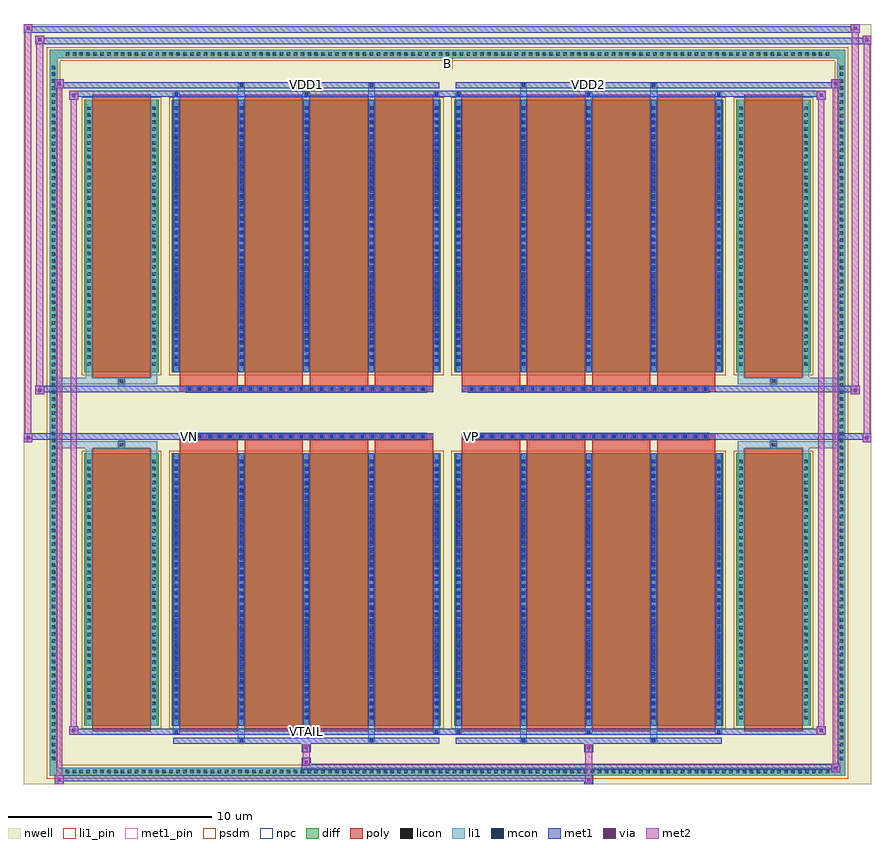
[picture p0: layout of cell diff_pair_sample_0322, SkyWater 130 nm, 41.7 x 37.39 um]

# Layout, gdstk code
import gdstk
lib = gdstk.Library(unit=1e-6, precision=5e-09)
def R(c, l, rs):  # rectangles x0, y0, x1, y1
    for r in rs: c.add(gdstk.rectangle(r[:2], r[2:], *l))
def A(c, l, x, y, w, h, nx, ny, dx, dy):  # array of equal rectangles
    R(c, l, [(x+i*dx, y+j*dy, x+i*dx+w, y+j*dy+h) for i in range(nx) for j in range(ny)])
def P(c, l, *ps):  # polygons
    for p in ps: c.add(gdstk.Polygon(p, *l))
nwell = (64, 20)
diff = (65, 20)
poly = (66, 20)
licon = (66, 44)
li1_pin = (67, 16)
li1 = (67, 20)
mcon = (67, 44)
met1_pin = (68, 16)
met1 = (68, 20)
via = (68, 44)
met2 = (69, 20)
psdm = (94, 20)
npc = (95, 20)

diff_pair_sample_0322 = lib.new_cell('diff_pair_sample_0322')
R(diff_pair_sample_0322, nwell, [(-20.85,-18.26,20.85,19.13), (-18.17,-16.45,-0.01,-0.805), (0.01,-16.45,18.17,-0.805), (-18.17,0.805,-0.01,16.45), (0.01,0.805,18.17,16.45)])
A(diff_pair_sample_0322, diff, -18.905, -17.86, 0.41, 0.41, 111, 2, 0.34, 35.31)
A(diff_pair_sample_0322, diff, -19.58, -17.205, 0.41, 0.41, 1, 101, 0, 0.34)
A(diff_pair_sample_0322, diff, 19.17, -17.205, 0.41, 0.41, 1, 101, 0, 0.34)
R(diff_pair_sample_0322, diff, [(-18.905,-17.86,18.905,-17.45), (-19.58,-17.205,-19.17,17.205), (19.17,-17.205,19.58,17.205), (-17.86,-15.405,-14.21,-1.985), (-13.57,-15.405,-0.32,-1.985), (0.32,-15.405,13.57,-1.985), (14.21,-15.405,17.86,-1.985), (-17.86,1.985,-14.21,15.405), (-13.57,1.985,-0.32,15.405), (0.32,1.985,13.57,15.405), (14.21,1.985,17.86,15.405), (-18.905,17.45,18.905,17.86)])
P(diff_pair_sample_0322, diff, [(19.58,17.86),(-19.58,17.86),(-19.58,-17.45),(-19.17,-17.45),(-19.17,17.45),(19.17,17.45),(19.17,-17.45),(-19.17,-17.45),(-19.58,-17.45),(-19.58,-17.86),(19.58,-17.86)])
A(diff_pair_sample_0322, poly, -13.18, -15.655, 2.87, 13.92, 4, 2, 3.2, 17.39)
A(diff_pair_sample_0322, poly, 0.71, -15.655, 2.87, 13.92, 4, 2, 3.2, 17.39)
A(diff_pair_sample_0322, poly, -13.18, -1.735, 2.87, 0.4, 4, 2, 3.2, 3.07)
A(diff_pair_sample_0322, poly, 0.71, -1.735, 2.87, 0.4, 4, 2, 3.2, 3.07)
A(diff_pair_sample_0322, poly, -12.86, -1.335, 0.33, 0.33, 24, 2, 0.5, 2.34)
A(diff_pair_sample_0322, poly, 1.03, -1.335, 0.33, 0.33, 24, 2, 0.5, 2.34)
R(diff_pair_sample_0322, poly, [(-17.47,-15.655,-14.6,-1.735), (14.6,-15.655,17.47,-1.735), (-16.2,-1.735,-15.87,-1.405), (-16.2,-1.735,-15.87,-1.405), (15.87,-1.735,16.2,-1.405), (15.87,-1.735,16.2,-1.405), (-13.18,-1.335,-0.71,-1.005), (0.71,-1.335,13.18,-1.005), (-13.18,1.005,-0.71,1.335), (0.71,1.005,13.18,1.335), (-16.2,1.405,-15.87,1.735), (-16.2,1.405,-15.87,1.735), (15.87,1.405,16.2,1.735), (15.87,1.405,16.2,1.735), (-17.47,1.735,-14.6,15.655), (14.6,1.735,17.47,15.655)])
A(diff_pair_sample_0322, licon, -18.785, -17.74, 0.17, 0.17, 111, 2, 0.34, 35.31)
A(diff_pair_sample_0322, licon, -19.46, -17.085, 0.17, 0.17, 1, 101, 0, 0.34)
A(diff_pair_sample_0322, licon, 19.29, -17.085, 0.17, 0.17, 1, 101, 0, 0.34)
A(diff_pair_sample_0322, licon, -17.72, -15.07, 0.17, 0.17, 1, 38, 0, 0.34)
A(diff_pair_sample_0322, licon, -14.52, -15.07, 0.17, 0.17, 1, 38, 0, 0.34)
A(diff_pair_sample_0322, licon, -13.43, -15.07, 0.17, 0.17, 5, 38, 3.2, 0.34)
A(diff_pair_sample_0322, licon, 0.46, -15.07, 0.17, 0.17, 5, 38, 3.2, 0.34)
A(diff_pair_sample_0322, licon, 14.35, -15.07, 0.17, 0.17, 1, 38, 0, 0.34)
A(diff_pair_sample_0322, licon, 17.55, -15.07, 0.17, 0.17, 1, 38, 0, 0.34)
A(diff_pair_sample_0322, licon, -12.78, -1.255, 0.17, 0.17, 24, 2, 0.5, 2.34)
A(diff_pair_sample_0322, licon, 1.11, -1.255, 0.17, 0.17, 24, 2, 0.5, 2.34)
A(diff_pair_sample_0322, licon, -17.72, 2.32, 0.17, 0.17, 1, 38, 0, 0.34)
A(diff_pair_sample_0322, licon, -14.52, 2.32, 0.17, 0.17, 1, 38, 0, 0.34)
A(diff_pair_sample_0322, licon, -13.43, 2.32, 0.17, 0.17, 5, 38, 3.2, 0.34)
A(diff_pair_sample_0322, licon, 0.46, 2.32, 0.17, 0.17, 5, 38, 3.2, 0.34)
A(diff_pair_sample_0322, licon, 14.35, 2.32, 0.17, 0.17, 1, 38, 0, 0.34)
A(diff_pair_sample_0322, licon, 17.55, 2.32, 0.17, 0.17, 1, 38, 0, 0.34)
R(diff_pair_sample_0322, licon, [(-16.12,-1.655,-15.95,-1.485), (15.95,-1.655,16.12,-1.485), (-16.12,1.485,-15.95,1.655), (15.95,1.485,16.12,1.655)])
R(diff_pair_sample_0322, li1_pin, [(-0.25,16.95,0.25,17.45)])
A(diff_pair_sample_0322, li1, -18.865, -17.82, 0.33, 0.33, 111, 2, 0.34, 35.31)
A(diff_pair_sample_0322, li1, -19.54, -17.165, 0.33, 0.33, 1, 101, 0, 0.34)
A(diff_pair_sample_0322, li1, 19.21, -17.165, 0.33, 0.33, 1, 101, 0, 0.34)
A(diff_pair_sample_0322, li1, -13.51, -15.78, 0.33, 0.375, 3, 2, 6.4, 31.185)
A(diff_pair_sample_0322, li1, -13.43, -15.78, 0.17, 0.17, 3, 2, 6.4, 31.39)
A(diff_pair_sample_0322, li1, 0.38, -15.78, 0.33, 0.375, 3, 2, 6.4, 31.185)
A(diff_pair_sample_0322, li1, 0.46, -15.78, 0.17, 0.17, 3, 2, 6.4, 31.39)
A(diff_pair_sample_0322, li1, -13.51, -15.405, 0.33, 13.42, 5, 2, 3.2, 17.39)
A(diff_pair_sample_0322, li1, 0.38, -15.405, 0.33, 13.42, 5, 2, 3.2, 17.39)
A(diff_pair_sample_0322, li1, -17.8, -15.15, 0.33, 0.33, 1, 38, 0, 0.34)
A(diff_pair_sample_0322, li1, -14.6, -15.15, 0.33, 0.33, 1, 38, 0, 0.34)
A(diff_pair_sample_0322, li1, -13.51, -15.15, 0.33, 0.33, 5, 38, 3.2, 0.34)
A(diff_pair_sample_0322, li1, 0.38, -15.15, 0.33, 0.33, 5, 38, 3.2, 0.34)
A(diff_pair_sample_0322, li1, 14.27, -15.15, 0.33, 0.33, 1, 38, 0, 0.34)
A(diff_pair_sample_0322, li1, 17.47, -15.15, 0.33, 0.33, 1, 38, 0, 0.34)
A(diff_pair_sample_0322, li1, -13.43, -15.08, 0.17, 0.17, 5, 36, 3.2, 0.36)
A(diff_pair_sample_0322, li1, -13.43, -15.08, 0.17, 12.77, 5, 2, 3.2, 17.39)
A(diff_pair_sample_0322, li1, 0.46, -15.08, 0.17, 0.17, 5, 36, 3.2, 0.36)
A(diff_pair_sample_0322, li1, 0.46, -15.08, 0.17, 12.77, 5, 2, 3.2, 17.39)
A(diff_pair_sample_0322, li1, -12.86, -1.335, 0.33, 0.33, 24, 2, 0.5, 2.34)
A(diff_pair_sample_0322, li1, 1.03, -1.335, 0.33, 0.33, 24, 2, 0.5, 2.34)
A(diff_pair_sample_0322, li1, -17.8, 2.24, 0.33, 0.33, 1, 38, 0, 0.34)
A(diff_pair_sample_0322, li1, -14.6, 2.24, 0.33, 0.33, 1, 38, 0, 0.34)
A(diff_pair_sample_0322, li1, -13.51, 2.24, 0.33, 0.33, 5, 38, 3.2, 0.34)
A(diff_pair_sample_0322, li1, 0.38, 2.24, 0.33, 0.33, 5, 38, 3.2, 0.34)
A(diff_pair_sample_0322, li1, 14.27, 2.24, 0.33, 0.33, 1, 38, 0, 0.34)
A(diff_pair_sample_0322, li1, 17.47, 2.24, 0.33, 0.33, 1, 38, 0, 0.34)
A(diff_pair_sample_0322, li1, -13.43, 2.31, 0.17, 0.17, 5, 36, 3.2, 0.36)
A(diff_pair_sample_0322, li1, 0.46, 2.31, 0.17, 0.17, 5, 36, 3.2, 0.36)
R(diff_pair_sample_0322, li1, [(-19.58,-17.86,-19.17,-17.45), (-19.58,-17.86,-19.17,-17.45), (-19.17,-17.86,19.17,-17.45), (19.17,-17.86,19.58,-17.45), (19.17,-17.86,19.58,-17.45), (-19.58,-17.45,-19.17,17.45), (19.17,-17.45,19.58,17.45), (-10.31,-16.21,-9.98,-15.405), (-10.23,-16.21,-10.06,-16.04), (-3.91,-16.21,-3.58,-15.405), (-3.83,-16.21,-3.66,-16.04), (3.58,-16.21,3.91,-15.405), (3.66,-16.21,3.83,-16.04), (9.98,-16.21,10.31,-15.405), (10.06,-16.21,10.23,-16.04), (-17.8,-15.405,-17.47,-1.985), (-14.6,-15.405,-14.27,-1.985), (14.27,-15.405,14.6,-1.985), (17.47,-15.405,17.8,-1.985), (-17.8,-1.985,-17.47,-1.405), (-14.6,-1.985,-14.27,-1.405), (14.27,-1.985,14.6,-1.405), (17.47,-1.985,17.8,-1.405), (-19.58,-1.735,-16.2,-1.405), (-17.8,-1.735,-16.2,-1.405), (-16.2,-1.735,-15.87,-1.405), (-15.87,-1.735,-14.27,-1.405), (14.27,-1.735,15.87,-1.405), (15.87,-1.735,16.2,-1.405), (15.87,-1.735,19.58,-1.405), (16.2,-1.735,17.8,-1.405), (-19.58,1.405,-16.2,1.735), (-17.8,1.405,-16.2,1.735), (-17.8,1.405,-17.47,1.985), (-16.2,1.405,-15.87,1.735), (-15.87,1.405,-14.27,1.735), (-14.6,1.405,-14.27,1.985), (14.27,1.405,15.87,1.735), (14.27,1.405,14.6,1.985), (15.87,1.405,16.2,1.735), (15.87,1.405,19.58,1.735), (16.2,1.405,17.8,1.735), (17.47,1.405,17.8,1.985), (-17.8,1.985,-17.47,15.405), (-14.6,1.985,-14.27,15.405), (14.27,1.985,14.6,15.405), (17.47,1.985,17.8,15.405), (-10.31,15.405,-9.98,16.21), (-3.91,15.405,-3.58,16.21), (3.58,15.405,3.91,16.21), (9.98,15.405,10.31,16.21), (-10.23,16.04,-10.06,16.21), (-3.83,16.04,-3.66,16.21), (3.66,16.04,3.83,16.21), (10.06,16.04,10.23,16.21), (-19.58,17.45,-19.17,17.86), (-19.58,17.45,-19.17,17.86), (-19.17,17.45,19.17,17.86), (19.17,17.45,19.58,17.86), (19.17,17.45,19.58,17.86)])
A(diff_pair_sample_0322, mcon, -13.43, -15.78, 0.17, 0.17, 3, 2, 6.4, 31.39)
A(diff_pair_sample_0322, mcon, 0.46, -15.78, 0.17, 0.17, 3, 2, 6.4, 31.39)
A(diff_pair_sample_0322, mcon, -13.43, -15.08, 0.17, 0.17, 5, 36, 3.2, 0.36)
A(diff_pair_sample_0322, mcon, 0.46, -15.08, 0.17, 0.17, 5, 36, 3.2, 0.36)
A(diff_pair_sample_0322, mcon, -12.78, -1.255, 0.17, 0.17, 24, 2, 0.5, 2.34)
A(diff_pair_sample_0322, mcon, 1.11, -1.255, 0.17, 0.17, 24, 2, 0.5, 2.34)
A(diff_pair_sample_0322, mcon, -13.43, 2.31, 0.17, 0.17, 5, 36, 3.2, 0.36)
A(diff_pair_sample_0322, mcon, 0.46, 2.31, 0.17, 0.17, 5, 36, 3.2, 0.36)
R(diff_pair_sample_0322, mcon, [(-10.23,-16.21,-10.06,-16.04), (-3.83,-16.21,-3.66,-16.04), (3.66,-16.21,3.83,-16.04), (10.06,-16.21,10.23,-16.04), (-10.23,16.04,-10.06,16.21), (-3.83,16.04,-3.66,16.21), (3.66,16.04,3.83,16.21), (10.06,16.04,10.23,16.21)])
R(diff_pair_sample_0322, met1_pin, [(-7.08,-15.82,-6.81,-15.55), (-12.83,-1.295,-12.56,-1.025), (1.06,-1.295,1.33,-1.025), (-7.08,16,-6.81,16.27), (6.81,16,7.08,16.27)])
A(diff_pair_sample_0322, met1, -13.49, -15.84, 0.29, 0.29, 3, 2, 6.4, 31.39)
A(diff_pair_sample_0322, met1, 0.4, -15.84, 0.29, 0.29, 3, 2, 6.4, 31.39)
A(diff_pair_sample_0322, met1, -13.49, -15.405, 0.29, 13.42, 5, 2, 3.2, 17.39)
A(diff_pair_sample_0322, met1, 0.4, -15.405, 0.29, 13.42, 5, 2, 3.2, 17.39)
A(diff_pair_sample_0322, met1, -13.49, -15.14, 0.29, 0.29, 5, 36, 3.2, 0.36)
A(diff_pair_sample_0322, met1, 0.4, -15.14, 0.29, 0.29, 5, 36, 3.2, 0.36)
A(diff_pair_sample_0322, met1, -12.84, -1.315, 0.29, 0.29, 24, 2, 0.5, 2.34)
A(diff_pair_sample_0322, met1, 1.05, -1.315, 0.29, 0.29, 24, 2, 0.5, 2.34)
A(diff_pair_sample_0322, met1, -13.49, 2.25, 0.29, 0.29, 5, 36, 3.2, 0.36)
A(diff_pair_sample_0322, met1, 0.4, 2.25, 0.29, 0.29, 5, 36, 3.2, 0.36)
R(diff_pair_sample_0322, met1, [(-19.31,-18.26,-18.88,-17.83), (6.73,-18.26,7.16,-17.83), (-19.31,-18.12,7.16,-17.83), (18.88,-17.69,19.31,-17.26), (-7.16,-17.55,19.31,-17.26), (-7.16,-17.41,-6.73,-16.98), (-7.16,-16.7,-6.73,-16.27), (6.73,-16.7,7.16,-16.27), (-13.49,-16.27,-0.4,-15.98), (-10.29,-16.27,-10,-15.98), (-3.89,-16.27,-3.6,-15.98), (0.4,-16.27,13.49,-15.98), (3.6,-16.27,3.89,-15.98), (10,-16.27,10.29,-15.98), (-18.6,-15.84,-18.17,-15.41), (-18.6,-15.84,-13.49,-15.55), (-13.49,-15.84,-0.4,-15.55), (-0.4,-15.84,0.4,-15.55), (0.4,-15.84,13.49,-15.55), (13.49,-15.84,18.6,-15.55), (18.17,-15.84,18.6,-15.41), (-20.85,-1.435,-20.42,-1.005), (20.42,-1.435,20.85,-1.005), (-20.85,-1.335,-0.71,-1.005), (-13.18,-1.335,-0.71,-1.005), (0.71,-1.335,13.18,-1.005), (0.71,-1.335,20.85,-1.005), (-20.28,0.905,-19.85,1.335), (19.85,0.905,20.28,1.335), (-20.28,1.005,-13.18,1.335), (-13.18,1.005,-0.71,1.335), (0.71,1.005,13.18,1.335), (13.18,1.005,20.28,1.335), (-18.6,15.41,-18.17,15.84), (18.17,15.41,18.6,15.84), (-18.6,15.55,-13.49,15.84), (-13.49,15.55,-0.4,15.84), (-0.4,15.55,0.4,15.84), (0.4,15.55,13.49,15.84), (13.49,15.55,18.6,15.84), (-19.31,15.98,-18.88,16.41), (-19.31,15.98,-13.49,16.27), (-13.49,15.98,-0.4,16.27), (-10.29,15.98,-10,16.27), (-3.89,15.98,-3.6,16.27), (0.4,15.98,13.49,16.27), (3.6,15.98,3.89,16.27), (10,15.98,10.29,16.27), (13.49,15.98,19.31,16.27), (18.88,15.98,19.31,16.41), (-20.28,18.13,-19.85,18.56), (-20.28,18.13,-18.17,18.46), (-18.17,18.13,18.17,18.46), (18.17,18.13,20.85,18.46), (20.42,18.13,20.85,18.56), (-20.85,18.7,-20.42,19.13), (-20.85,18.7,-18.17,19.03), (-18.17,18.7,18.17,19.03), (18.17,18.7,20.28,19.03), (19.85,18.7,20.28,19.13)])
R(diff_pair_sample_0322, via, [(-19.17,-18.12,-19.02,-17.97), (6.87,-18.12,7.02,-17.97), (19.02,-17.55,19.17,-17.4), (-7.02,-17.27,-6.87,-17.12), (-7.02,-16.56,-6.87,-16.41), (6.87,-16.56,7.02,-16.41), (-18.46,-15.7,-18.31,-15.55), (18.31,-15.7,18.46,-15.55), (-20.71,-1.295,-20.56,-1.145), (20.56,-1.295,20.71,-1.145), (-20.14,1.045,-19.99,1.195), (19.99,1.045,20.14,1.195), (-18.46,15.55,-18.31,15.7), (18.31,15.55,18.46,15.7), (-19.17,16.12,-19.02,16.27), (19.02,16.12,19.17,16.27), (-20.14,18.27,-19.99,18.42), (20.56,18.27,20.71,18.42), (-20.71,18.84,-20.56,18.99), (19.99,18.84,20.14,18.99)])
R(diff_pair_sample_0322, met2, [(-19.31,-18.26,-18.88,-17.83), (-19.24,-18.26,-18.95,16.41), (-18.95,-18.26,-18.88,-17.83), (-19.26,-18.21,-18.93,-17.88), (6.78,-18.21,7.11,-17.88), (6.78,-17.88,7.11,-16.65), (18.88,-17.69,19.31,-17.26), (18.95,-17.69,19.24,16.41), (19.24,-17.69,19.31,-17.26), (18.93,-17.64,19.26,-17.31), (-7.11,-17.36,-6.78,-17.03), (-7.11,-17.03,-6.78,-16.65), (-7.11,-16.65,-6.78,-16.32), (6.78,-16.65,7.11,-16.32), (-18.6,-15.84,-18.17,-15.41), (-18.53,-15.84,-18.24,15.84), (-18.24,-15.84,-18.17,-15.41), (18.17,-15.84,18.6,-15.41), (18.24,-15.84,18.53,15.84), (18.53,-15.84,18.6,-15.41), (-18.55,-15.79,-18.22,-15.46), (18.22,-15.79,18.55,-15.46), (-20.85,-1.435,-20.42,-1.005), (-20.8,-1.435,-20.47,19.13), (-20.47,-1.435,-20.42,-1.005), (20.42,-1.435,20.85,-1.005), (20.47,-1.435,20.8,18.56), (20.8,-1.435,20.85,-1.005), (-20.8,-1.385,-20.47,-1.055), (20.47,-1.385,20.8,-1.055), (-20.28,0.905,-19.85,1.335), (-20.23,0.905,-19.9,18.56), (-19.9,0.905,-19.85,1.335), (19.85,0.905,20.28,1.335), (19.9,0.905,20.23,19.13), (20.23,0.905,20.28,1.335), (-20.23,0.955,-19.9,1.285), (19.9,0.955,20.23,1.285), (-18.6,15.41,-18.17,15.84), (-18.24,15.41,-18.17,15.84), (18.17,15.41,18.6,15.84), (18.53,15.41,18.6,15.84), (-18.55,15.46,-18.22,15.79), (18.22,15.46,18.55,15.79), (-19.31,15.98,-18.88,16.41), (-18.95,15.98,-18.88,16.41), (18.88,15.98,19.31,16.41), (19.24,15.98,19.31,16.41), (-19.26,16.03,-18.93,16.36), (18.93,16.03,19.26,16.36), (-20.28,18.13,-19.85,18.56), (-19.9,18.13,-19.85,18.56), (20.42,18.13,20.85,18.56), (20.8,18.13,20.85,18.56), (-20.23,18.18,-19.9,18.51), (20.47,18.18,20.8,18.51), (-20.85,18.7,-20.42,19.13), (-20.47,18.7,-20.42,19.13), (19.85,18.7,20.28,19.13), (20.23,18.7,20.28,19.13), (-20.8,18.75,-20.47,19.08), (19.9,18.75,20.23,19.08)])
R(diff_pair_sample_0322, psdm, [(-17.99,-15.535,-14.08,-1.855), (-13.7,-15.535,-0.19,-1.855), (0.19,-15.535,13.7,-1.855), (14.08,-15.535,17.99,-1.855), (-17.99,1.855,-14.08,15.535), (-13.7,1.855,-0.19,15.535), (0.19,1.855,13.7,15.535), (14.08,1.855,17.99,15.535)])
P(diff_pair_sample_0322, psdm, [(19.71,17.99),(-19.71,17.99),(-19.71,-17.32),(-19.04,-17.32),(-19.04,17.32),(19.04,17.32),(19.04,-17.32),(-19.04,-17.32),(-19.71,-17.32),(-19.71,-17.99),(19.71,-17.99)])
A(diff_pair_sample_0322, npc, -12.88, -1.355, 0.37, 0.37, 24, 2, 0.5, 2.34)
A(diff_pair_sample_0322, npc, 1.01, -1.355, 0.37, 0.37, 24, 2, 0.5, 2.34)
R(diff_pair_sample_0322, npc, [(-16.22,-1.755,-15.85,-1.385), (15.85,-1.755,16.22,-1.385), (-12.88,-1.355,-12.01,-0.985), (-12.88,-1.355,-12.01,-0.985), (-12.38,-1.355,-11.51,-0.985), (-12.38,-1.355,-11.51,-0.985), (-11.88,-1.355,-11.01,-0.985), (-11.88,-1.355,-11.01,-0.985), (-11.38,-1.355,-10.51,-0.985), (-11.38,-1.355,-10.51,-0.985), (-10.88,-1.355,-10.01,-0.985), (-10.88,-1.355,-10.01,-0.985), (-10.38,-1.355,-9.51,-0.985), (-10.38,-1.355,-9.51,-0.985), (-9.88,-1.355,-9.01,-0.985), (-9.88,-1.355,-9.01,-0.985), (-9.38,-1.355,-8.51,-0.985), (-9.38,-1.355,-8.51,-0.985), (-8.88,-1.355,-8.01,-0.985), (-8.88,-1.355,-8.01,-0.985), (-8.38,-1.355,-7.51,-0.985), (-8.38,-1.355,-7.51,-0.985), (-7.88,-1.355,-7.01,-0.985), (-7.88,-1.355,-7.01,-0.985), (-7.38,-1.355,-6.51,-0.985), (-7.38,-1.355,-6.51,-0.985), (-6.88,-1.355,-6.01,-0.985), (-6.88,-1.355,-6.01,-0.985), (-6.38,-1.355,-5.51,-0.985), (-6.38,-1.355,-5.51,-0.985), (-5.88,-1.355,-5.01,-0.985), (-5.88,-1.355,-5.01,-0.985), (-5.38,-1.355,-4.51,-0.985), (-5.38,-1.355,-4.51,-0.985), (-4.88,-1.355,-4.01,-0.985), (-4.88,-1.355,-4.01,-0.985), (-4.38,-1.355,-3.51,-0.985), (-4.38,-1.355,-3.51,-0.985), (-3.88,-1.355,-3.01,-0.985), (-3.88,-1.355,-3.01,-0.985), (-3.38,-1.355,-2.51,-0.985), (-3.38,-1.355,-2.51,-0.985), (-2.88,-1.355,-2.01,-0.985), (-2.88,-1.355,-2.01,-0.985), (-2.38,-1.355,-1.51,-0.985), (-2.38,-1.355,-1.51,-0.985), (-1.88,-1.355,-1.01,-0.985), (-1.88,-1.355,-1.01,-0.985), (1.01,-1.355,1.88,-0.985), (1.01,-1.355,1.88,-0.985), (1.51,-1.355,2.38,-0.985), (1.51,-1.355,2.38,-0.985), (2.01,-1.355,2.88,-0.985), (2.01,-1.355,2.88,-0.985), (2.51,-1.355,3.38,-0.985), (2.51,-1.355,3.38,-0.985), (3.01,-1.355,3.88,-0.985), (3.01,-1.355,3.88,-0.985), (3.51,-1.355,4.38,-0.985), (3.51,-1.355,4.38,-0.985), (4.01,-1.355,4.88,-0.985), (4.01,-1.355,4.88,-0.985), (4.51,-1.355,5.38,-0.985), (4.51,-1.355,5.38,-0.985), (5.01,-1.355,5.88,-0.985), (5.01,-1.355,5.88,-0.985), (5.51,-1.355,6.38,-0.985), (5.51,-1.355,6.38,-0.985), (6.01,-1.355,6.88,-0.985), (6.01,-1.355,6.88,-0.985), (6.51,-1.355,7.38,-0.985), (6.51,-1.355,7.38,-0.985), (7.01,-1.355,7.88,-0.985), (7.01,-1.355,7.88,-0.985), (7.51,-1.355,8.38,-0.985), (7.51,-1.355,8.38,-0.985), (8.01,-1.355,8.88,-0.985), (8.01,-1.355,8.88,-0.985), (8.51,-1.355,9.38,-0.985), (8.51,-1.355,9.38,-0.985), (9.01,-1.355,9.88,-0.985), (9.01,-1.355,9.88,-0.985), (9.51,-1.355,10.38,-0.985), (9.51,-1.355,10.38,-0.985), (10.01,-1.355,10.88,-0.985), (10.01,-1.355,10.88,-0.985), (10.51,-1.355,11.38,-0.985), (10.51,-1.355,11.38,-0.985), (11.01,-1.355,11.88,-0.985), (11.01,-1.355,11.88,-0.985), (11.51,-1.355,12.38,-0.985), (11.51,-1.355,12.38,-0.985), (12.01,-1.355,12.88,-0.985), (12.01,-1.355,12.88,-0.985), (-12.88,0.985,-12.01,1.355), (-12.88,0.985,-12.01,1.355), (-12.38,0.985,-11.51,1.355), (-12.38,0.985,-11.51,1.355), (-11.88,0.985,-11.01,1.355), (-11.88,0.985,-11.01,1.355), (-11.38,0.985,-10.51,1.355), (-11.38,0.985,-10.51,1.355), (-10.88,0.985,-10.01,1.355), (-10.88,0.985,-10.01,1.355), (-10.38,0.985,-9.51,1.355), (-10.38,0.985,-9.51,1.355), (-9.88,0.985,-9.01,1.355), (-9.88,0.985,-9.01,1.355), (-9.38,0.985,-8.51,1.355), (-9.38,0.985,-8.51,1.355), (-8.88,0.985,-8.01,1.355), (-8.88,0.985,-8.01,1.355), (-8.38,0.985,-7.51,1.355), (-8.38,0.985,-7.51,1.355), (-7.88,0.985,-7.01,1.355), (-7.88,0.985,-7.01,1.355), (-7.38,0.985,-6.51,1.355), (-7.38,0.985,-6.51,1.355), (-6.88,0.985,-6.01,1.355), (-6.88,0.985,-6.01,1.355), (-6.38,0.985,-5.51,1.355), (-6.38,0.985,-5.51,1.355), (-5.88,0.985,-5.01,1.355), (-5.88,0.985,-5.01,1.355), (-5.38,0.985,-4.51,1.355), (-5.38,0.985,-4.51,1.355), (-4.88,0.985,-4.01,1.355), (-4.88,0.985,-4.01,1.355), (-4.38,0.985,-3.51,1.355), (-4.38,0.985,-3.51,1.355), (-3.88,0.985,-3.01,1.355), (-3.88,0.985,-3.01,1.355), (-3.38,0.985,-2.51,1.355), (-3.38,0.985,-2.51,1.355), (-2.88,0.985,-2.01,1.355), (-2.88,0.985,-2.01,1.355), (-2.38,0.985,-1.51,1.355), (-2.38,0.985,-1.51,1.355), (-1.88,0.985,-1.01,1.355), (-1.88,0.985,-1.01,1.355), (1.01,0.985,1.88,1.355), (1.01,0.985,1.88,1.355), (1.51,0.985,2.38,1.355), (1.51,0.985,2.38,1.355), (2.01,0.985,2.88,1.355), (2.01,0.985,2.88,1.355), (2.51,0.985,3.38,1.355), (2.51,0.985,3.38,1.355), (3.01,0.985,3.88,1.355), (3.01,0.985,3.88,1.355), (3.51,0.985,4.38,1.355), (3.51,0.985,4.38,1.355), (4.01,0.985,4.88,1.355), (4.01,0.985,4.88,1.355), (4.51,0.985,5.38,1.355), (4.51,0.985,5.38,1.355), (5.01,0.985,5.88,1.355), (5.01,0.985,5.88,1.355), (5.51,0.985,6.38,1.355), (5.51,0.985,6.38,1.355), (6.01,0.985,6.88,1.355), (6.01,0.985,6.88,1.355), (6.51,0.985,7.38,1.355), (6.51,0.985,7.38,1.355), (7.01,0.985,7.88,1.355), (7.01,0.985,7.88,1.355), (7.51,0.985,8.38,1.355), (7.51,0.985,8.38,1.355), (8.01,0.985,8.88,1.355), (8.01,0.985,8.88,1.355), (8.51,0.985,9.38,1.355), (8.51,0.985,9.38,1.355), (9.01,0.985,9.88,1.355), (9.01,0.985,9.88,1.355), (9.51,0.985,10.38,1.355), (9.51,0.985,10.38,1.355), (10.01,0.985,10.88,1.355), (10.01,0.985,10.88,1.355), (10.51,0.985,11.38,1.355), (10.51,0.985,11.38,1.355), (11.01,0.985,11.88,1.355), (11.01,0.985,11.88,1.355), (11.51,0.985,12.38,1.355), (11.51,0.985,12.38,1.355), (12.01,0.985,12.88,1.355), (12.01,0.985,12.88,1.355), (-16.22,1.385,-15.85,1.755), (15.85,1.385,16.22,1.755)])
diff_pair_sample_0322.add(gdstk.Label('VTAIL', (-6.945,-15.685), layer=68, texttype=5))
diff_pair_sample_0322.add(gdstk.Label('VN', (-12.695,-1.16), layer=68, texttype=5))
diff_pair_sample_0322.add(gdstk.Label('VP', (1.195,-1.16), layer=68, texttype=5))
diff_pair_sample_0322.add(gdstk.Label('B', (0,17.2), layer=67, texttype=5))
diff_pair_sample_0322.add(gdstk.Label('VDD2', (6.945,16.135), layer=68, texttype=5))
diff_pair_sample_0322.add(gdstk.Label('VDD1', (-6.945,16.135), layer=68, texttype=5))

lib.write_gds('diff_pair_sample_0322.gds')
